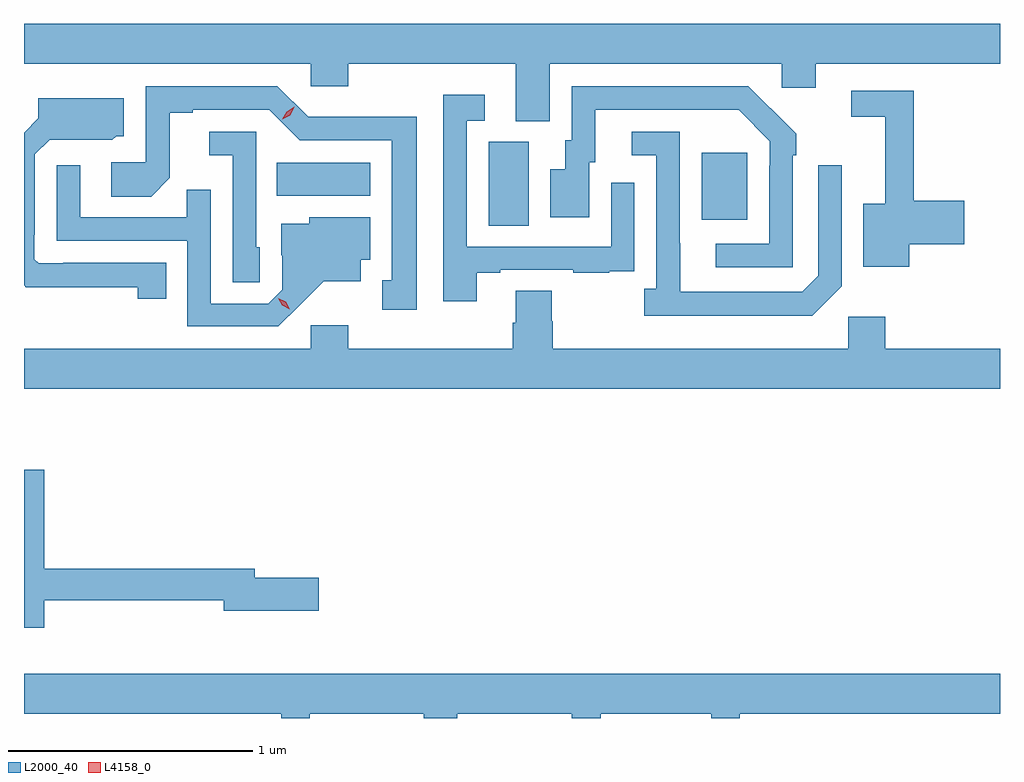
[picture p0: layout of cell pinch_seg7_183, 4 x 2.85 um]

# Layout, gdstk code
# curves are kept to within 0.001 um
import gdstk
lib = gdstk.Library(unit=1e-6, precision=1e-09)
def R(c, l, rs):  # rectangles x0, y0, x1, y1
    for r in rs: c.add(gdstk.rectangle(r[:2], r[2:], *l))
def P(c, l, *ps):  # polygons
    for p in ps: c.add(gdstk.Polygon(p, *l))
L2000_40 = (2000, 40)
L4158_0 = (4158, 0)

pinch_seg7_183 = lib.new_cell('pinch_seg7_183')
R(pinch_seg7_183, L2000_40, [(1132.352,1021.264,1132.516,1021.608), (1133.225,1021.289,1133.413,1021.564), (1131.484,1021.388,1131.868,1021.522)])
P(pinch_seg7_183, L2000_40, [(1132.603,1021.928),(1133.553,1021.928),(1133.553,1021.83),(1133.692,1021.83),(1133.692,1021.928),(1134.448,1021.928),(1134.448,1022.092),(1130.448,1022.092),(1130.448,1021.928),(1131.624,1021.928),(1131.624,1021.835),(1131.776,1021.835),(1131.776,1021.928),(1132.463,1021.928),(1132.463,1021.693),(1132.603,1021.693)],
  [(1132.057,1021.712),(1131.834,1021.712),(1131.834,1021.71),(1131.612,1021.71),(1131.486,1021.836),(1130.946,1021.836),(1130.946,1021.524),(1130.805,1021.524),(1130.805,1021.384),(1130.969,1021.384),(1131.045,1021.46),(1131.045,1021.728),(1131.139,1021.728),(1131.139,1021.74),(1131.453,1021.74),(1131.579,1021.614),(1131.956,1021.614),(1131.956,1021.041),(1131.917,1021.041),(1131.917,1020.921),(1132.057,1020.921)],
  [(1133.598,1021.553),(1133.613,1021.553),(1133.613,1021.641),(1133.416,1021.836),(1132.692,1021.836),(1132.692,1021.614),(1132.667,1021.614),(1132.667,1021.495),(1132.604,1021.495),(1132.604,1021.299),(1132.765,1021.299),(1132.765,1021.524),(1132.789,1021.524),(1132.789,1021.74),(1133.377,1021.74),(1133.505,1021.611),(1133.505,1021.511),(1133.502,1021.511),(1133.502,1021.191),(1133.283,1021.191),(1133.283,1021.095),(1133.598,1021.095)],
  [(1134.076,1021.189),(1134.301,1021.189),(1134.301,1021.367),(1134.095,1021.367),(1134.095,1021.818),(1133.838,1021.818),(1133.838,1021.71),(1133.978,1021.71),(1133.978,1021.354),(1133.888,1021.354),(1133.888,1021.097),(1134.076,1021.097)],
  [(1132.303,1021.071),(1132.399,1021.071),(1132.399,1021.083),(1132.699,1021.083),(1132.699,1021.071),(1132.847,1021.071),(1132.847,1021.077),(1132.949,1021.077),(1132.949,1021.186),(1132.95,1021.186),(1132.95,1021.441),(1132.854,1021.441),(1132.854,1021.179),(1132.263,1021.179),(1132.263,1021.695),(1132.336,1021.695),(1132.336,1021.801),(1132.167,1021.801),(1132.167,1020.954),(1132.303,1020.954)],
  [(1131.032,1021.113),(1130.608,1021.113),(1130.608,1021.11),(1130.508,1021.11),(1130.49,1021.128),(1130.49,1021.228),(1130.493,1021.228),(1130.493,1021.557),(1130.553,1021.617),(1130.81,1021.616),(1130.826,1021.632),(1130.857,1021.632),(1130.857,1021.786),(1130.507,1021.786),(1130.507,1021.704),(1130.448,1021.645),(1130.448,1021.021),(1130.456,1021.013),(1130.914,1021.012),(1130.914,1020.966),(1131.032,1020.966)],
  [(1131.414,1021.176),(1131.399,1021.176),(1131.399,1021.65),(1131.207,1021.65),(1131.207,1021.553),(1131.303,1021.553),(1131.303,1021.033),(1131.414,1021.033)],
  [(1133.799,1021.017),(1133.799,1021.513),(1133.703,1021.513),(1133.703,1021.059),(1133.637,1020.993),(1133.137,1020.993),(1133.136,1021.65),(1132.938,1021.65),(1132.938,1021.554),(1133.04,1021.554),(1133.04,1021.006),(1132.989,1021.006),(1132.989,1020.896),(1133.678,1020.896)],
  [(1131.574,1020.935),(1131.677,1021.037),(1131.829,1021.037),(1131.829,1021.124),(1131.868,1021.124),(1131.868,1021.3),(1131.618,1021.3),(1131.618,1021.273),(1131.503,1021.273),(1131.503,1021.144),(1131.507,1021.144),(1131.507,1021.002),(1131.45,1020.945),(1131.213,1020.945),(1131.213,1021.412),(1131.115,1021.412),(1131.115,1021.299),(1130.679,1021.299),(1130.679,1021.513),(1130.583,1021.513),(1130.583,1021.203),(1131.117,1021.203),(1131.117,1020.852),(1131.49,1020.852)],
  [(1134.448,1020.76),(1133.978,1020.76),(1133.978,1020.892),(1133.826,1020.892),(1133.826,1020.76),(1132.616,1020.76),(1132.616,1020.873),(1132.611,1020.873),(1132.611,1020.998),(1132.463,1020.998),(1132.463,1020.866),(1132.451,1020.866),(1132.451,1020.76),(1131.776,1020.76),(1131.776,1020.856),(1131.624,1020.856),(1131.624,1020.76),(1130.448,1020.76),(1130.448,1020.596),(1134.448,1020.596)],
  [(1130.531,1019.73),(1131.266,1019.73),(1131.266,1019.687),(1131.655,1019.687),(1131.655,1019.822),(1131.394,1019.822),(1131.394,1019.858),(1130.531,1019.858),(1130.531,1020.265),(1130.448,1020.265),(1130.448,1019.616),(1130.531,1019.616)],
  [(1131.62,1019.264),(1132.087,1019.264),(1132.087,1019.246),(1132.223,1019.246),(1132.223,1019.264),(1132.693,1019.264),(1132.693,1019.246),(1132.811,1019.246),(1132.811,1019.264),(1133.264,1019.264),(1133.264,1019.246),(1133.381,1019.246),(1133.381,1019.264),(1134.448,1019.264),(1134.448,1019.428),(1130.448,1019.428),(1130.448,1019.264),(1131.503,1019.264),(1131.503,1019.246),(1131.62,1019.246)])
P(pinch_seg7_183, L4158_0, [(1131.506,1021.7),(1131.506,1021.7),(1131.524,1021.732),(1131.556,1021.751),(1131.556,1021.751),(1131.556,1021.751),(1131.539,1021.718),(1131.507,1021.7)],
  [(1131.537,1020.922),(1131.507,1020.938),(1131.49,1020.968),(1131.49,1020.968),(1131.49,1020.968),(1131.52,1020.952),(1131.537,1020.923),(1131.537,1020.922)])

lib.write_gds('pinch_seg7_183.gds')
